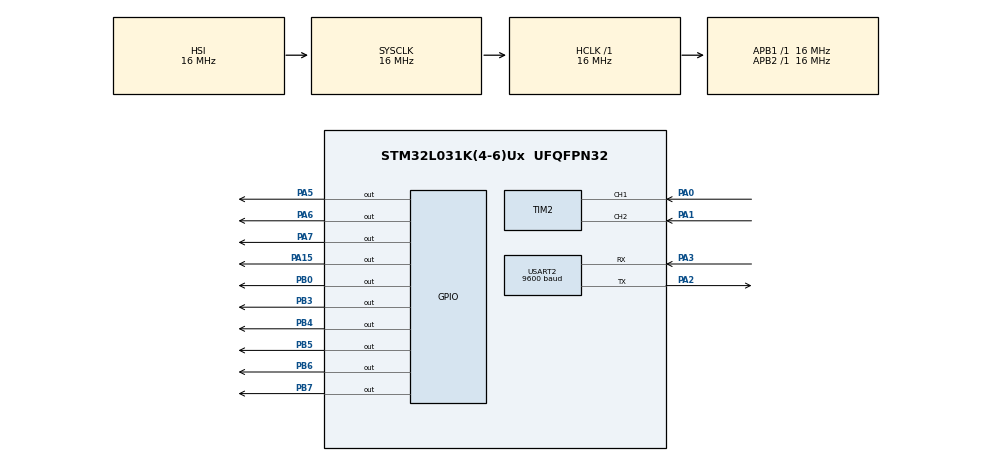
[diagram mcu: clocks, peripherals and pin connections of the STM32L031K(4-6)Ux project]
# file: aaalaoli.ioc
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Dma.Request0=USART2_RX
Dma.USART2_RX.0.Direction=DMA_PERIPH_TO_MEMORY
Dma.USART2_RX.0.Instance=DMA1_Channel5
Dma.USART2_RX.0.MemDataAlignment=DMA_MDATAALIGN_BYTE
Dma.USART2_RX.0.MemInc=DMA_MINC_ENABLE
Dma.USART2_RX.0.Mode=DMA_NORMAL
Dma.USART2_RX.0.PeriphDataAlignment=DMA_PDATAALIGN_BYTE
Dma.USART2_RX.0.PeriphInc=DMA_PINC_DISABLE
Dma.USART2_RX.0.Priority=DMA_PRIORITY_LOW
Mcu.Family=STM32L0
Mcu.Name=STM32L031K(4-6)Ux
Mcu.Package=UFQFPN32
NVIC.DMA1_Channel4_5_6_7_IRQn=true\:0\:0\:false\:false\:true\:false\:true\:true
NVIC.USART2_IRQn=true\:0\:0\:false\:false\:true\:true\:true\:true
PA0-CK_IN.Signal=S_TIM2_CH1
PA1.Signal=S_TIM2_CH2
PA15.Signal=GPIO_Output
PA2.Mode=Asynchronous
PA2.Signal=USART2_TX
PA3.Mode=Asynchronous
PA3.Signal=USART2_RX
PA5.Signal=GPIO_Output
PA6.Signal=GPIO_Output
PA7.Signal=GPIO_Output
PB0.Signal=GPIO_Output
PB3.Signal=GPIO_Output
PB4.Signal=GPIO_Output
PB5.Signal=GPIO_Output
PB6.Signal=GPIO_Output
PB7.Signal=GPIO_Output
ProjectManager.HeapSize=0x200
ProjectManager.StackSize=0x400
ProjectManager.TargetToolchain=Makefile
RCC.AHBFreq_Value=16000000
RCC.APB1Freq_Value=16000000
RCC.APB1TimFreq_Value=16000000
RCC.APB2Freq_Value=16000000
RCC.APB2TimFreq_Value=16000000
RCC.HCLKFreq_Value=16000000
RCC.HSE_VALUE=8000000
RCC.HSI16_VALUE=16000000
RCC.HSI_VALUE=16000000
RCC.LSE_VALUE=32768
RCC.MSI_VALUE=2097000
RCC.PLLDIV=RCC_PLLDIV_3
RCC.SYSCLKFreq_VALUE=16000000
RCC.SYSCLKSource=RCC_SYSCLKSOURCE_HSI
RCC.VCOOutputFreq_Value=48000000
SH.S_TIM2_CH1.0=TIM2_CH1,Encoder_Interface
SH.S_TIM2_CH2.0=TIM2_CH2,Encoder_Interface
TIM2.EncoderMode=TIM_ENCODERMODE_TI1
TIM2.IC1Filter=0
TIM2.IC2Filter=0
USART2.BaudRate=9600
USART2.VirtualMode-Asynchronous=VM_ASYNC
board=custom

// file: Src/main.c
/* USER CODE BEGIN Header */
/**
 ******************************************************************************
 * @file           : main.c
 * @brief          : Main program body
 ******************************************************************************
 * @attention
 *
 * Copyright (c) 2025 STMicroelectronics.
 * All rights reserved.
 *
 * This software is licensed under terms that can be found in the LICENSE file
 * in the root directory of this software component.
 * If no LICENSE file comes with this software, it is provided AS-IS.
 *
 ******************************************************************************
 */
/* USER CODE END Header */
#include "main.h"

/* USER CODE BEGIN Includes */
#include "string.h"
#include "vfd.h"
/* USER CODE END Includes */

/* USER CODE BEGIN PD */

#define BUF_SIZE 16 // Define the size of the receive buffer
// #define CMD_QUERY_PLAYMODE {0x04, 0xFB, 0x01, 0x00, 0x00} // Query play mode command
// #define CMD_SET_PLAY {0x04, 0xFB, 0x01, 0x01, 0x01}       // Play command for the audio player
// #define CMD_SET_PAUSE {0x04, 0xFB, 0x01, 0x02, 0x02}      // Pause command for the audio player

// #define CMD_SET_PREV {0x04, 0xFB, 0x01, 0x04, 0x04} // Previous track command for the audio player
// #define CMD_SET_NEXT {0x04, 0xFB, 0x01, 0x05, 0x05} // Next track command for the audio player

// #define CMD_SW_2_SDCARD {0x04, 0xFB, 0x01, 0x0B, 0x0B} // Switch to SD card command

// #define CMD_QUERY_CURRENT_TRACK {0x04, 0xFB, 0x01, 0x0E, 0x0E} // Query current track command
// #define CMD_QUERY_TRACK_NAME {0x04, 0xFB, 0x01, 0x15, 0x15}    // Query track name command

// #define CMD_QUERY_CURRENT_PLAYTIME_EN {0x05, 0xFA, 0x01, 0x02, 0x02} // Query current playtime command

// #define CMD_QUERY_VOLUME {0x06, 0xF9, 0x01, 0x00, 0x00}     // Query volume command
// #define CMD_SET_VOLUME(x) {0x06, 0xF9, 0x02, 0x01, x, 0x02+x} // Set volume command
// #define CMD_SET_VOLUME_UP {0x06, 0xF9, 0x01, 0x02, 0x02}    // Volume up command
// #define CMD_SET_VOLUME_DOWN {0x06, 0xF9, 0x01, 0x03, 0x03} // Volume down command

// #define CMD_SET_PLAYMODE_CIRCLE {0x0B, 0xF4, 0x02, 0x01, 0x00, 0x02} // Set play mode to circle command

// #define CMD_SET_SLEEP {0x0D,0xF3,0x01,0x01,0x02} // Set sleep command

const uint8_t CMD_QUERY_PLAYMODE[] = {0x04, 0xFB, 0x01, 0x00, 0x00}; // Query play mode command
const uint8_t CMD_SET_PLAY[] = {0x04, 0xFB, 0x01, 0x01, 0x01};       // Play command for the audio player
const uint8_t CMD_SET_PAUSE[] = {0x04, 0xFB, 0x01, 0x02, 0x02};      // Pause command for the audio player

const uint8_t CMD_SET_PREV[] = {0x04, 0xFB, 0x01, 0x04, 0x04}; // Previous track command for the audio player
const uint8_t CMD_SET_NEXT[] = {0x04, 0xFB, 0x01, 0x05, 0x05}; // Next track command for the audio player

const uint8_t CMD_SW_2_SDCARD[] = {0x04, 0xFB, 0x01, 0x0B, 0x0B}; // Switch to SD card command

const uint8_t CMD_QUERY_CURRENT_TRACK[] = {0x04, 0xFB, 0x01, 0x0E, 0x0E}; // Query current track command
const uint8_t CMD_QUERY_TRACK_NAME[] = {0x04, 0xFB, 0x01, 0x15, 0x15};    // Query track name command

const uint8_t CMD_QUERY_CURRENT_PLAYTIME_EN[] = {0x05, 0xFA, 0x01, 0x02, 0x02}; // Query current playtime command

const uint8_t CMD_QUERY_VOLUME[] = {0x06, 0xF9, 0x01, 0x00, 0x00};     // Query volume command
const uint8_t CMD_SET_VOLUME[] = {0x06, 0xF9, 0x02, 0x01, 0x00, 0x02}; // Set volume command (example: x = 0)
const uint8_t CMD_SET_VOLUME_UP[] = {0x06, 0xF9, 0x01, 0x02, 0x02};    // Volume up command
const uint8_t CMD_SET_VOLUME_DOWN[] = {0x06, 0xF9, 0x01, 0x03, 0x03};  // Volume down command

const uint8_t CMD_SET_PLAYMODE_CIRCLE[] = {0x0B, 0xF4, 0x02, 0x01, 0x00, 0x02}; // Set play mode to circle command

const uint8_t CMD_SET_SLEEP[] = {0x0D, 0xF3, 0x01, 0x01, 0x02}; // Set sleep command

struct
{
  uint8_t playmode,
      volume,
      current_track,
      current_playtime_en,
      current_playtim_min,
      current_playtim_sec,
      track_name[12];
} mp3_status = {
    .playmode = 0,            // Default play mode
    .volume = 10,             // Default volume
    .current_track = 0,       // Default current track
    .current_playtime_en = 1, // Default current playtime enable
    .current_playtim_min = 0, // Default current playtime minutes
    .current_playtim_sec = 0, // Default current playtime seconds
    .track_name = {0}         // Default track name array
};

/* USER CODE END PD */

TIM_HandleTypeDef htim2;

UART_HandleTypeDef huart2;
DMA_HandleTypeDef hdma_usart2_rx;

/* USER CODE BEGIN PV */
uint8_t rx_buffer[BUF_SIZE]; // 创建接收缓存,大小为BUF_SIZE
/* USER CODE END PV */

void SystemClock_Config(void);
static void MX_GPIO_Init(void);
static void MX_DMA_Init(void);
static void MX_TIM2_Init(void);
static void MX_USART2_UART_Init(void);

/* USER CODE BEGIN 0 */
// gpio interrupt
int dir = 0;
int ec11_cnt = 0; // Counter for encoder pulses
// void HAL_GPIO_EXTI_Callback(uint16_t GPIO_Pin)
// {
//   if (GPIO_Pin == GPIO_PIN_1) // Check if the interrupt is from PA1
//   {
//     ec11_cnt+=HAL_GPIO_ReadPin(GPIOA, GPIO_PIN_0) ? 1 : -1; // Increment or decrement based on PA0 state
//   }
// }

void UART_Instruction_Transmit(UART_HandleTypeDef *huart, uint8_t *msg, uint16_t size)
{
  // Transmit the message over UART
  static int count = 0;
  static int query_cnt = 0;
  static uint8_t msg_buf[10] = {0};
  if (count++ == 200) // Transmit every 100th call
  {
    count = 0;                                     // Reset count
    if (strcmp((char *)msg, (char *)msg_buf) != 0) // Check if the message is different from the last transmitted message
    {
      memcpy(msg_buf, msg, size); // Store the current message
    }
    else
    {
      // if the message is the same,enter circular query mode
      switch (query_cnt++)
      {
      case 0:
        memcpy(msg_buf, CMD_QUERY_PLAYMODE, sizeof(CMD_QUERY_PLAYMODE));
        size = sizeof(CMD_QUERY_PLAYMODE);
        break;
      case 1:
        memcpy(msg_buf, CMD_QUERY_CURRENT_TRACK, sizeof(CMD_QUERY_CURRENT_TRACK));
        size = sizeof(CMD_QUERY_CURRENT_TRACK);
        break;
      case 2:
        memcpy(msg_buf, CMD_QUERY_TRACK_NAME, sizeof(CMD_QUERY_TRACK_NAME));
        size = sizeof(CMD_QUERY_TRACK_NAME);
        break;
      case 3:
        memcpy(msg_buf, CMD_QUERY_CURRENT_PLAYTIME_EN, sizeof(CMD_QUERY_CURRENT_PLAYTIME_EN));
        size = sizeof(CMD_QUERY_CURRENT_PLAYTIME_EN);
        break;
      case 4:
        memcpy(msg_buf, CMD_QUERY_VOLUME, sizeof(CMD_QUERY_VOLUME));
        size = sizeof(CMD_QUERY_VOLUME);
        query_cnt = 0; // Reset query count
        break;
      }
    }
    HAL_UART_Transmit(huart, msg, size, HAL_MAX_DELAY);
  }
  else
  {
    HAL_Delay(1);
  }
}

void HAL_UARTEx_RxEventCallback(UART_HandleTypeDef *huart, uint16_t Size)
{
  if (huart->Instance == USART2)
  {
    // int cnt = BUF_SIZE - __HAL_DMA_GET_COUNTER(&hdma_usart2_rx);
    // HAL_UART_Transmit(&huart2, rx_buffer, cnt, 0xffff);	//将接受到的数据再发回上位机
    // memset(rx_buffer, 0, cnt);
  }
}
/* USER CODE END 0 */

int main(void)
{

  /* MCU Configuration--------------------------------------------------------*/

  /* Reset of all peripherals, Initializes the Flash interface and the Systick. */
  HAL_Init();

  /* Configure the system clock */
  SystemClock_Config();

  /* Initialize all configured peripherals */
  MX_GPIO_Init();
  MX_DMA_Init();
  MX_TIM2_Init();
  MX_USART2_UART_Init();
  /* USER CODE BEGIN 2 */
  // Start the encoder interface
  // VFD_init(&hspi1); // Initialize the VFD display

  // VFD_test_out(); // Test the VFD display
  EN_1;
  HAL_Delay(100);
  VFD_init();
  S1201_WriteStr(0, "ABCDEFGH");
  S1201_show();

  HAL_Delay(5000);
  uint8_t msg_sdcard[] = {0x04, 0xFB, 0x01, 0x0B, 0x0B};
  uint8_t msg_playmode[] = {0x0B, 0xF4, 0x02, 0x01, 0x00, 0x02};
  uint8_t msg_play[] = {0x04, 0xFB, 0x01, 0x01, 0x01};
  HAL_GPIO_WritePin(GPIOB, GPIO_PIN_5, GPIO_PIN_SET); // init pwamp
  HAL_GPIO_WritePin(GPIOB, GPIO_PIN_3, GPIO_PIN_RESET);
  HAL_GPIO_WritePin(GPIOB, GPIO_PIN_4, GPIO_PIN_RESET);
  HAL_UART_Transmit(&huart2, msg_sdcard, sizeof(msg_sdcard), HAL_MAX_DELAY);
  HAL_Delay(200);
  HAL_UART_Transmit(&huart2, msg_playmode, sizeof(msg_playmode), HAL_MAX_DELAY);
  HAL_Delay(200);
  HAL_UART_Transmit(&huart2, msg_play, sizeof(msg_play), HAL_MAX_DELAY);
  HAL_TIM_Encoder_Start(&htim2, TIM_CHANNEL_1);
  /* USER CODE END 2 */

  /* Infinite loop */
  /* USER CODE BEGIN WHILE */
  HAL_UARTEx_ReceiveToIdle_DMA(&huart2, rx_buffer, BUF_SIZE);
  while (1)
  {
    dir = __HAL_TIM_IS_TIM_COUNTING_DOWN(&htim2) ? -1 : 1; // Check counting direction
    ec11_cnt = 0.5 * (short)__HAL_TIM_GET_COUNTER(&htim2); // Get the current counter value

    HAL_GPIO_TogglePin(GPIOB, GPIO_PIN_6); // Toggle LED on PB6
    HAL_Delay(50);                         // Delay for 500 ms
    HAL_GPIO_TogglePin(GPIOB, GPIO_PIN_7); // Toggle LED on PB7
    HAL_Delay(50);                         // Delay for 500 ms

    /* USER CODE END WHILE */

  }
}

void SystemClock_Config(void)
{
  RCC_OscInitTypeDef RCC_OscInitStruct = {0};
  RCC_ClkInitTypeDef RCC_ClkInitStruct = {0};
  RCC_PeriphCLKInitTypeDef PeriphClkInit = {0};

  /** Configure the main internal regulator output voltage
   */
  __HAL_PWR_VOLTAGESCALING_CONFIG(PWR_REGULATOR_VOLTAGE_SCALE1);

  /** Initializes the RCC Oscillators according to the specified parameters
   * in the RCC_OscInitTypeDef structure.
   */
  RCC_OscInitStruct.OscillatorType = RCC_OSCILLATORTYPE_HSI;
  RCC_OscInitStruct.HSIState = RCC_HSI_ON;
  RCC_OscInitStruct.HSICalibrationValue = RCC_HSICALIBRATION_DEFAULT;
  RCC_OscInitStruct.PLL.PLLState = RCC_PLL_NONE;
  if (HAL_RCC_OscConfig(&RCC_OscInitStruct) != HAL_OK)
  {
    Error_Handler();
  }

  /** Initializes the CPU, AHB and APB buses clocks
   */
  RCC_ClkInitStruct.ClockType = RCC_CLOCKTYPE_HCLK | RCC_CLOCKTYPE_SYSCLK | RCC_CLOCKTYPE_PCLK1 | RCC_CLOCKTYPE_PCLK2;
  RCC_ClkInitStruct.SYSCLKSource = RCC_SYSCLKSOURCE_HSI;
  RCC_ClkInitStruct.AHBCLKDivider = RCC_SYSCLK_DIV1;
  RCC_ClkInitStruct.APB1CLKDivider = RCC_HCLK_DIV1;
  RCC_ClkInitStruct.APB2CLKDivider = RCC_HCLK_DIV1;

  if (HAL_RCC_ClockConfig(&RCC_ClkInitStruct, FLASH_LATENCY_0) != HAL_OK)
  {
    Error_Handler();
  }
  PeriphClkInit.PeriphClockSelection = RCC_PERIPHCLK_USART2;
  PeriphClkInit.Usart2ClockSelection = RCC_USART2CLKSOURCE_PCLK1;
  if (HAL_RCCEx_PeriphCLKConfig(&PeriphClkInit) != HAL_OK)
  {
    Error_Handler();
  }
}

static void MX_TIM2_Init(void)
{

  TIM_Encoder_InitTypeDef sConfig = {0};
  TIM_MasterConfigTypeDef sMasterConfig = {0};

  htim2.Instance = TIM2;
  htim2.Init.Prescaler = 0;
  htim2.Init.CounterMode = TIM_COUNTERMODE_UP;
  htim2.Init.Period = 65535;
  htim2.Init.ClockDivision = TIM_CLOCKDIVISION_DIV1;
  htim2.Init.AutoReloadPreload = TIM_AUTORELOAD_PRELOAD_DISABLE;
  sConfig.EncoderMode = TIM_ENCODERMODE_TI1;
  sConfig.IC1Polarity = TIM_ICPOLARITY_RISING;
  sConfig.IC1Selection = TIM_ICSELECTION_DIRECTTI;
  sConfig.IC1Prescaler = TIM_ICPSC_DIV1;
  sConfig.IC1Filter = 0;
  sConfig.IC2Polarity = TIM_ICPOLARITY_RISING;
  sConfig.IC2Selection = TIM_ICSELECTION_DIRECTTI;
  sConfig.IC2Prescaler = TIM_ICPSC_DIV1;
  sConfig.IC2Filter = 0;
  if (HAL_TIM_Encoder_Init(&htim2, &sConfig) != HAL_OK)
  {
    Error_Handler();
  }
  sMasterConfig.MasterOutputTrigger = TIM_TRGO_RESET;
  sMasterConfig.MasterSlaveMode = TIM_MASTERSLAVEMODE_DISABLE;
  if (HAL_TIMEx_MasterConfigSynchronization(&htim2, &sMasterConfig) != HAL_OK)
  {
    Error_Handler();
  }
}

static void MX_USART2_UART_Init(void)
{

  huart2.Instance = USART2;
  huart2.Init.BaudRate = 9600;
  huart2.Init.WordLength = UART_WORDLENGTH_8B;
  huart2.Init.StopBits = UART_STOPBITS_1;
  huart2.Init.Parity = UART_PARITY_NONE;
  huart2.Init.Mode = UART_MODE_TX_RX;
  huart2.Init.HwFlowCtl = UART_HWCONTROL_NONE;
  huart2.Init.OverSampling = UART_OVERSAMPLING_16;
  huart2.Init.OneBitSampling = UART_ONE_BIT_SAMPLE_DISABLE;
  huart2.AdvancedInit.AdvFeatureInit = UART_ADVFEATURE_NO_INIT;
  if (HAL_UART_Init(&huart2) != HAL_OK)
  {
    Error_Handler();
  }
}

static void MX_DMA_Init(void)
{

  /* DMA controller clock enable */
  __HAL_RCC_DMA1_CLK_ENABLE();

  /* DMA interrupt init */
  /* DMA1_Channel4_5_6_7_IRQn interrupt configuration */
  HAL_NVIC_SetPriority(DMA1_Channel4_5_6_7_IRQn, 0, 0);
  HAL_NVIC_EnableIRQ(DMA1_Channel4_5_6_7_IRQn);
}

static void MX_GPIO_Init(void)
{
  GPIO_InitTypeDef GPIO_InitStruct = {0};

  /* GPIO Ports Clock Enable */
  __HAL_RCC_GPIOA_CLK_ENABLE();
  __HAL_RCC_GPIOB_CLK_ENABLE();

  /*Configure GPIO pin Output Level */
  HAL_GPIO_WritePin(GPIOA, GPIO_PIN_5 | GPIO_PIN_6 | GPIO_PIN_7 | GPIO_PIN_15, GPIO_PIN_RESET);

  /*Configure GPIO pin Output Level */
  HAL_GPIO_WritePin(GPIOB, GPIO_PIN_0 | GPIO_PIN_3 | GPIO_PIN_4 | GPIO_PIN_5 | GPIO_PIN_6 | GPIO_PIN_7, GPIO_PIN_RESET);

  /*Configure GPIO pins : PA5 PA6 PA7 PA15 */
  GPIO_InitStruct.Pin = GPIO_PIN_5 | GPIO_PIN_6 | GPIO_PIN_7 | GPIO_PIN_15;
  GPIO_InitStruct.Mode = GPIO_MODE_OUTPUT_PP;
  GPIO_InitStruct.Pull = GPIO_NOPULL;
  GPIO_InitStruct.Speed = GPIO_SPEED_FREQ_LOW;
  HAL_GPIO_Init(GPIOA, &GPIO_InitStruct);

  /*Configure GPIO pins : PB0 PB3 PB4 PB5
                           PB6 PB7 */
  GPIO_InitStruct.Pin = GPIO_PIN_0 | GPIO_PIN_3 | GPIO_PIN_4 | GPIO_PIN_5 | GPIO_PIN_6 | GPIO_PIN_7;
  GPIO_InitStruct.Mode = GPIO_MODE_OUTPUT_PP;
  GPIO_InitStruct.Pull = GPIO_NOPULL;
  GPIO_InitStruct.Speed = GPIO_SPEED_FREQ_LOW;
  HAL_GPIO_Init(GPIOB, &GPIO_InitStruct);

}

void Error_Handler(void)
{
  __disable_irq();
  while (1)
  {
  }
}
